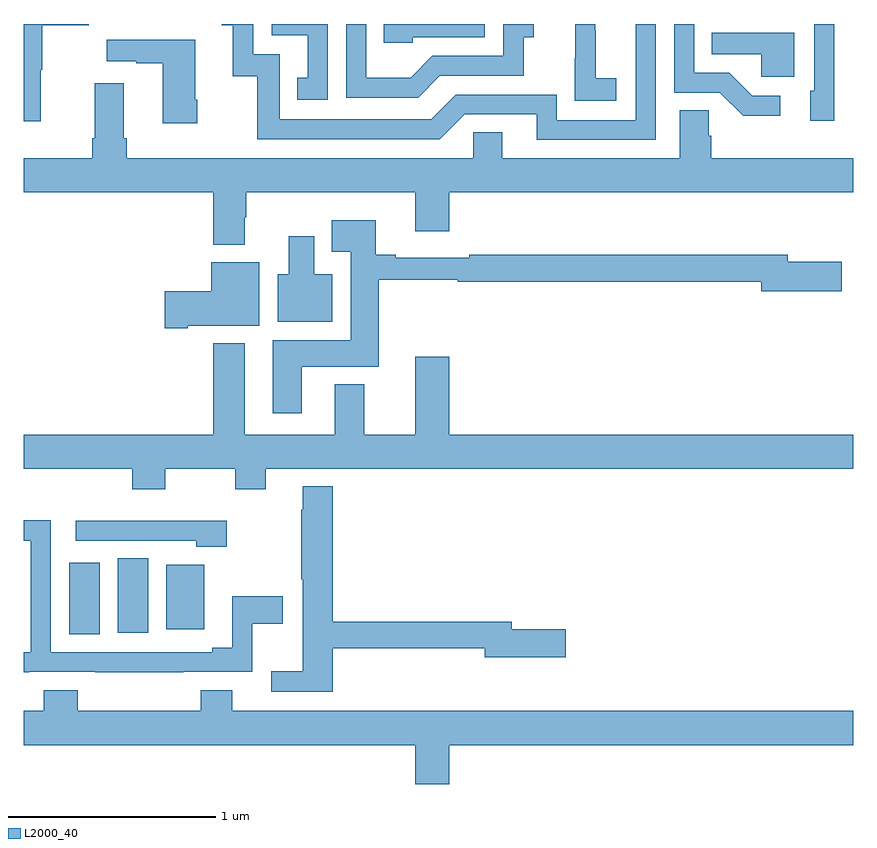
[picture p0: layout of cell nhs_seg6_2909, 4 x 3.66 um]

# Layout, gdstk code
import gdstk
lib = gdstk.Library(unit=1e-6, precision=1e-09)
def R(c, l, rs):  # rectangles x0, y0, x1, y1
    for r in rs: c.add(gdstk.rectangle(r[:2], r[2:], *l))
def P(c, l, *ps):  # polygons
    for p in ps: c.add(gdstk.Polygon(p, *l))
L2000_40 = (2000, 40)

nhs_seg6_2909 = lib.new_cell('nhs_seg6_2909')
R(nhs_seg6_2909, L2000_40, [(283.22,926.557,283.366,926.902), (283.454,926.565,283.6,926.924), (283.688,926.582,283.87,926.893)])
P(nhs_seg6_2909, L2000_40, [(286.908,929.5),(286.811,929.5),(286.811,929.482),(286.812,929.482),(286.812,929.178),(286.793,929.178),(286.793,929.034),(286.908,929.034)],
  [(286.047,929.5),(285.951,929.5),(285.951,929.037),(285.57,929.037),(285.57,929.16),(285.084,929.16),(284.964,929.04),(284.235,929.04),(284.235,929.355),(284.106,929.355),(284.106,929.5),(283.956,929.5),(283.956,929.493),(284.009,929.493),(284.009,929.247),(284.127,929.247),(284.127,928.944),(285.006,928.944),(285.126,929.064),(285.473,929.064),(285.473,928.941),(286.047,928.941)],
  [(284.466,929.5),(284.196,929.5),(284.196,929.445),(284.369,929.445),(284.369,929.241),(284.32,929.241),(284.32,929.136),(284.466,929.136)],
  [(286.648,929.154),(286.513,929.154),(286.402,929.265),(286.233,929.265),(286.233,929.5),(286.137,929.5),(286.137,929.169),(286.356,929.169),(286.469,929.057),(286.648,929.057)],
  [(285.856,929.239),(285.758,929.239),(285.758,929.468),(285.756,929.468),(285.756,929.5),(285.659,929.5),(285.659,929.335),(285.658,929.335),(285.658,929.129),(285.856,929.129)],
  [(284.877,929.436),(285.222,929.436),(285.222,929.5),(284.737,929.5),(284.737,929.409),(284.877,929.409)],
  [(285.007,929.25),(285.411,929.25),(285.411,929.435),(285.46,929.435),(285.46,929.5),(285.312,929.5),(285.312,929.346),(284.97,929.346),(284.866,929.242),(284.652,929.242),(284.652,929.5),(284.556,929.5),(284.556,929.145),(284.902,929.145)],
  [(283.082,929.28),(283.09,929.28),(283.09,929.494),(283.313,929.494),(283.313,929.5),(283,929.5),(283,929.031),(283.082,929.031)],
  [(286.714,929.458),(286.318,929.458),(286.318,929.354),(286.557,929.354),(286.557,929.246),(286.714,929.246)],
  [(283.836,929.134),(283.828,929.134),(283.828,929.425),(283.401,929.425),(283.401,929.321),(283.544,929.321),(283.544,929.311),(283.67,929.311),(283.67,929.022),(283.836,929.022)],
  [(284.065,928.568),(284.073,928.568),(284.073,928.688),(284.888,928.688),(284.888,928.5),(285.052,928.5),(285.052,928.688),(287,928.688),(287,928.852),(286.316,928.852),(286.316,928.961),(286.302,928.961),(286.302,929.084),(286.163,929.084),(286.163,928.852),(285.307,928.852),(285.307,928.979),(285.168,928.979),(285.168,928.852),(283.496,928.852),(283.496,928.948),(283.483,928.948),(283.483,929.215),(283.343,929.215),(283.343,928.948),(283.331,928.948),(283.331,928.852),(283,928.852),(283,928.688),(283.913,928.688),(283.913,928.436),(284.065,928.436)],
  [(284.341,927.848),(284.711,927.848),(284.711,928.266),(285.094,928.266),(285.094,928.258),(286.556,928.258),(286.556,928.211),(286.945,928.211),(286.945,928.353),(286.684,928.353),(286.684,928.387),(285.148,928.387),(285.148,928.374),(284.794,928.374),(284.794,928.387),(284.698,928.387),(284.698,928.555),(284.486,928.555),(284.486,928.403),(284.576,928.403),(284.576,927.976),(284.201,927.976),(284.201,927.624),(284.341,927.624)],
  [(284.488,928.294),(284.401,928.294),(284.401,928.477),(284.279,928.477),(284.279,928.294),(284.225,928.294),(284.225,928.064),(284.488,928.064)],
  [(283.792,928.046),(284.137,928.046),(284.137,928.351),(283.904,928.351),(283.904,928.212),(283.68,928.212),(283.68,928.034),(283.792,928.034)],
  [(283.683,927.356),(284.02,927.356),(284.02,927.257),(284.167,927.257),(284.167,927.356),(287,927.356),(287,927.52),(285.052,927.52),(285.052,927.895),(284.888,927.895),(284.888,927.52),(284.641,927.52),(284.641,927.763),(284.501,927.763),(284.501,927.52),(284.065,927.52),(284.065,927.961),(283.913,927.961),(283.913,927.52),(283,927.52),(283,927.356),(283.523,927.356),(283.523,927.257),(283.683,927.257)],
  [(284.489,926.49),(285.224,926.49),(285.224,926.447),(285.613,926.447),(285.613,926.582),(285.352,926.582),(285.352,926.618),(284.489,926.618),(284.489,927.271),(284.345,927.271),(284.345,927.158),(284.338,927.158),(284.338,926.824),(284.345,926.824),(284.345,926.379),(284.193,926.379),(284.193,926.28),(284.489,926.28)],
  [(283.028,926.376),(283.345,926.376),(283.345,926.375),(283.769,926.375),(283.769,926.376),(284.103,926.376),(284.103,926.609),(284.248,926.609),(284.248,926.741),(284.006,926.741),(284.006,926.492),(283.91,926.492),(283.91,926.472),(283.131,926.472),(283.131,927.108),(283,927.108),(283,927.009),(283.035,927.009),(283.035,926.472),(283,926.472),(283,926.375),(283.028,926.375)],
  [(283.978,927.106),(283.251,927.106),(283.251,927.009),(283.833,927.009),(283.833,926.981),(283.978,926.981)],
  [(285.052,926.024),(287,926.024),(287,926.188),(284.005,926.188),(284.005,926.287),(283.853,926.287),(283.853,926.188),(283.262,926.188),(283.262,926.287),(283.097,926.287),(283.097,926.188),(283,926.188),(283,926.024),(284.888,926.024),(284.888,925.836),(285.052,925.836)])

lib.write_gds('nhs_seg6_2909.gds')
